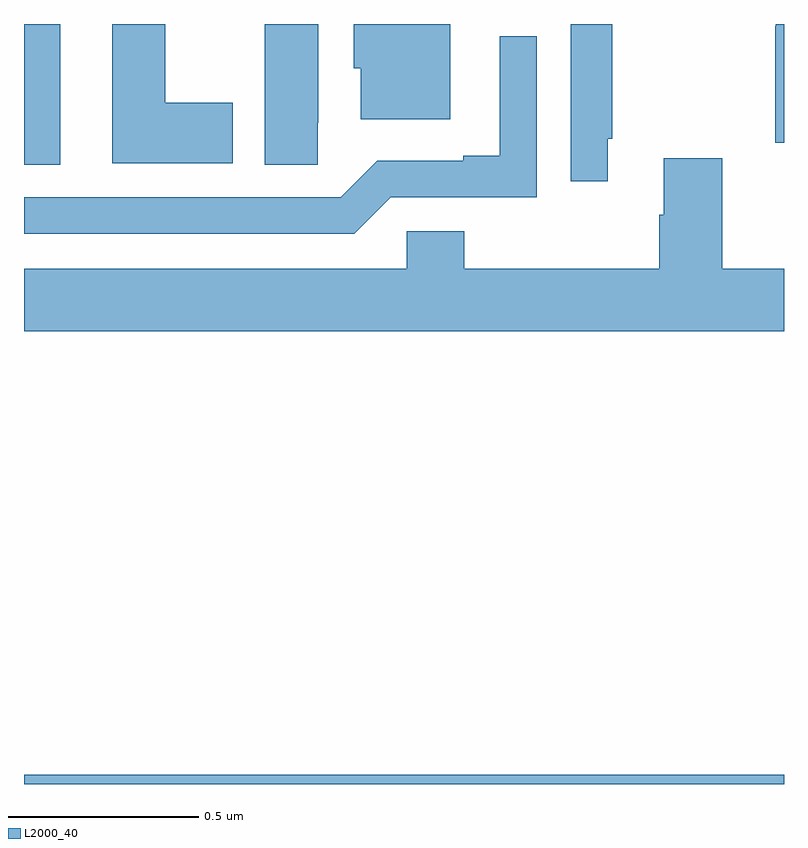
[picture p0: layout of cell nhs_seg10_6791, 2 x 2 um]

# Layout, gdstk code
import gdstk
lib = gdstk.Library(unit=1e-6, precision=1e-09)
def R(c, l, rs):  # rectangles x0, y0, x1, y1
    for r in rs: c.add(gdstk.rectangle(r[:2], r[2:], *l))
def P(c, l, *ps):  # polygons
    for p in ps: c.add(gdstk.Polygon(p, *l))
L2000_40 = (2000, 40)

nhs_seg10_6791 = lib.new_cell('nhs_seg10_6791')
R(nhs_seg10_6791, L2000_40, [(196,1256.5,198,1256.524), (196,1258.129,196.096,1258.5)])
P(nhs_seg10_6791, L2000_40, [(198,1258.5),(197.978,1258.5),(197.978,1258.494),(197.977,1258.494),(197.977,1258.188),(198,1258.188)],
  [(197.536,1258.198),(197.548,1258.198),(197.548,1258.5),(197.439,1258.5),(197.439,1258.086),(197.536,1258.086)],
  [(197.122,1258.5),(196.868,1258.5),(196.868,1258.383),(196.886,1258.383),(196.886,1258.25),(197.122,1258.25)],
  [(196.773,1258.24),(196.774,1258.24),(196.774,1258.5),(196.634,1258.5),(196.634,1258.129),(196.773,1258.129)],
  [(196.549,1258.293),(196.372,1258.293),(196.372,1258.5),(196.232,1258.5),(196.232,1258.133),(196.549,1258.133)],
  [(196.965,1258.044),(197.349,1258.044),(197.349,1258.468),(197.252,1258.468),(197.252,1258.153),(197.156,1258.153),(197.156,1258.14),(196.929,1258.14),(196.833,1258.044),(196,1258.044),(196,1257.948),(196.869,1257.948)],
  [(198,1257.856),(197.837,1257.856),(197.837,1258.147),(197.684,1258.147),(197.684,1257.998),(197.672,1257.998),(197.672,1257.856),(197.159,1257.856),(197.159,1257.954),(197.007,1257.954),(197.007,1257.856),(196,1257.856),(196,1257.692),(198,1257.692)])

lib.write_gds('nhs_seg10_6791.gds')
